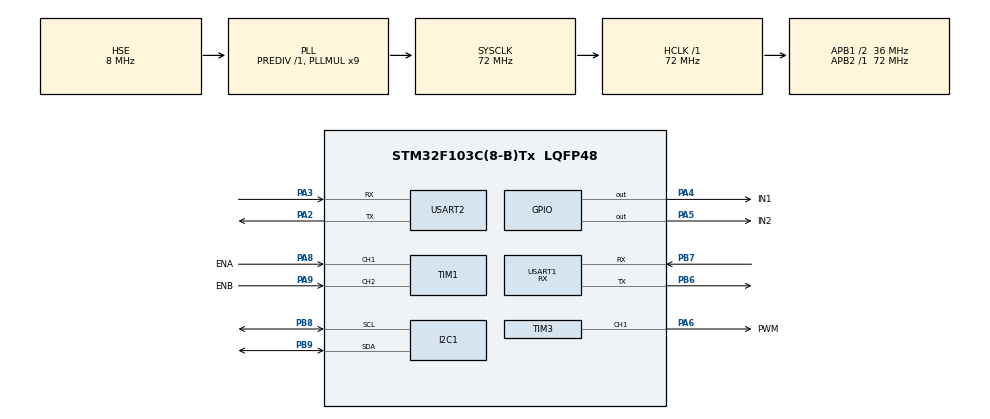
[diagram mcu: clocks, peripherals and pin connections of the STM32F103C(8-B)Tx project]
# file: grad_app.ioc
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Dma.Request0=USART1_RX
Dma.USART1_RX.0.Direction=DMA_PERIPH_TO_MEMORY
Dma.USART1_RX.0.Instance=DMA1_Channel5
Dma.USART1_RX.0.MemDataAlignment=DMA_MDATAALIGN_BYTE
Dma.USART1_RX.0.MemInc=DMA_MINC_ENABLE
Dma.USART1_RX.0.Mode=DMA_CIRCULAR
Dma.USART1_RX.0.PeriphDataAlignment=DMA_PDATAALIGN_BYTE
Dma.USART1_RX.0.PeriphInc=DMA_PINC_DISABLE
Dma.USART1_RX.0.Priority=DMA_PRIORITY_LOW
Mcu.Family=STM32F1
Mcu.Name=STM32F103C(8-B)Tx
Mcu.Package=LQFP48
NVIC.DMA1_Channel5_IRQn=true\:0\:0\:false\:false\:true\:false\:true\:true
NVIC.PriorityGroup=NVIC_PRIORITYGROUP_4
NVIC.TIM2_IRQn=true\:0\:0\:false\:false\:true\:true\:true\:true
NVIC.USART1_IRQn=true\:0\:0\:false\:false\:true\:true\:true\:true
PA13.Mode=Serial_Wire
PA13.Signal=SYS_JTMS-SWDIO
PA14.Mode=Serial_Wire
PA14.Signal=SYS_JTCK-SWCLK
PA2.Mode=Asynchronous
PA2.Signal=USART2_TX
PA3.Mode=Asynchronous
PA3.Signal=USART2_RX
PA4.GPIO_Label=IN1
PA4.Signal=GPIO_Output
PA5.GPIO_Label=IN2
PA5.Signal=GPIO_Output
PA6.GPIO_Label=PWM
PA6.Signal=S_TIM3_CH1
PA8.GPIO_Label=ENA
PA8.Signal=S_TIM1_CH1
PA9.GPIO_Label=ENB
PA9.Signal=S_TIM1_CH2
PB6.Mode=Asynchronous
PB6.Signal=USART1_TX
PB7.Mode=Asynchronous
PB7.Signal=USART1_RX
PB8.Mode=I2C
PB8.Signal=I2C1_SCL
PB9.Mode=I2C
PB9.Signal=I2C1_SDA
PD0-OSC_IN.Mode=HSE-External-Oscillator
PD0-OSC_IN.Signal=RCC_OSC_IN
PD1-OSC_OUT.Mode=HSE-External-Oscillator
PD1-OSC_OUT.Signal=RCC_OSC_OUT
ProjectManager.HeapSize=0x200
ProjectManager.StackSize=0x400
ProjectManager.TargetToolchain=Makefile
RCC.AHBFreq_Value=72000000
RCC.APB1CLKDivider=RCC_HCLK_DIV2
RCC.APB1Freq_Value=36000000
RCC.APB1TimFreq_Value=72000000
RCC.APB2Freq_Value=72000000
RCC.APB2TimFreq_Value=72000000
RCC.HCLKFreq_Value=72000000
RCC.PLLMUL=RCC_PLL_MUL9
RCC.PLLSourceVirtual=RCC_PLLSOURCE_HSE
RCC.SYSCLKFreq_VALUE=72000000
RCC.SYSCLKSource=RCC_SYSCLKSOURCE_PLLCLK
RCC.USBFreq_Value=72000000
SH.S_TIM1_CH1.0=TIM1_CH1,Encoder_Interface
SH.S_TIM1_CH2.0=TIM1_CH2,Encoder_Interface
SH.S_TIM3_CH1.0=TIM3_CH1,PWM Generation1 CH1
TIM1.AutoReloadPreload=TIM_AUTORELOAD_PRELOAD_ENABLE
TIM1.EncoderMode=TIM_ENCODERMODE_TI12
TIM2.AutoReloadPreload=TIM_AUTORELOAD_PRELOAD_ENABLE
TIM2.Period=9
TIM2.Prescaler=7199
TIM3.AutoReloadPreload=TIM_AUTORELOAD_PRELOAD_ENABLE
TIM3.Channel-PWM\ Generation1\ CH1=TIM_CHANNEL_1
TIM3.Period=1000-1
TIM3.Prescaler=4-1
USART1.Mode=MODE_RX
USART1.VirtualMode=VM_ASYNC
USART2.VirtualMode=VM_ASYNC
VP_TIM2_VS_ClockSourceINT.Mode=Internal
board=custom

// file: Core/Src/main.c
/* USER CODE BEGIN Header */
/**
  ******************************************************************************
  * @file           : main.c
  * @brief          : Main program body
  ******************************************************************************
  * @attention
  *
  * Copyright (c) 2025 STMicroelectronics.
  * All rights reserved.
  *
  * This software is licensed under terms that can be found in the LICENSE file
  * in the root directory of this software component.
  * If no LICENSE file comes with this software, it is provided AS-IS.
  *N
  ******************************************************************************
  */
/* USER CODE END Header */
#include "main.h"
#include <stdio.h>
#include <string.h>
#include <stdbool.h>
#include "time.h"
#include "motorController.h"
#include "uartParser.h"
#include "i2c_lcd.h"

/* USER CODE BEGIN PTD */
// Define the size of the UART RX buffer
#define DMA_BUFFER_SIZE 128

volatile uint8_t uart_dma_buffer[DMA_BUFFER_SIZE];
volatile float target_position; // Target position in mm
volatile float current_position; // Current position in mm
volatile float Dtf, Dmis; // Variables to hold the coordinates
/* USER CODE END PTD */

I2C_HandleTypeDef hi2c1;
I2C_LCD_HandleTypeDef lcd1;

TIM_HandleTypeDef htim1;
TIM_HandleTypeDef htim2;
TIM_HandleTypeDef htim3;

UART_HandleTypeDef huart1;
UART_HandleTypeDef huart2;
DMA_HandleTypeDef hdma_usart1_rx;

void SystemClock_Config(void);
static void MX_GPIO_Init(void);
static void MX_DMA_Init(void);
static void MX_TIM1_Init(void);
static void MX_TIM2_Init(void);
static void MX_TIM3_Init(void);
static void MX_USART1_UART_Init(void);
static void MX_I2C1_Init(void);
static void MX_USART2_UART_Init(void);

int main(void)
{

  /* MCU Configuration--------------------------------------------------------*/

  /* Reset of all peripherals, Initializes the Flash interface and the Systick. */
  HAL_Init();

  /* Configure the system clock */
  SystemClock_Config();

  /* Initialize all configured peripherals */
  MX_GPIO_Init();
  MX_DMA_Init();
  MX_TIM1_Init();
  MX_TIM2_Init();
  MX_TIM3_Init();
  MX_USART1_UART_Init();
  MX_I2C1_Init();
  MX_USART2_UART_Init();
  /* USER CODE BEGIN 2 */
  // Initialize the encoder and PWM
  HAL_TIM_Encoder_Start(&htim1, TIM_CHANNEL_ALL);
  HAL_TIM_Base_Start_IT(&htim2);
  HAL_TIM_PWM_Start(&htim3, TIM_CHANNEL_1);
  HAL_UART_Receive_DMA(&huart1, uart_dma_buffer, DMA_BUFFER_SIZE);
  __HAL_UART_ENABLE_IT(&huart1, UART_IT_IDLE);
  Motor_Init(); // Initialize the motor controller

  lcd1.hi2c = &hi2c1;
  lcd1.address = 0x4E;
  lcd_init(&lcd1); // Initialize the LCD
  /* USER CODE END 2 */

  /* Infinite loop */
  while (1)
  {
    LogData();
    HAL_Delay(1000); // Delay to simulate processing time
  }
}

void SystemClock_Config(void)
{
  RCC_OscInitTypeDef RCC_OscInitStruct = {0};
  RCC_ClkInitTypeDef RCC_ClkInitStruct = {0};

  /** Initializes the RCC Oscillators according to the specified parameters
  * in the RCC_OscInitTypeDef structure.
  */
  RCC_OscInitStruct.OscillatorType = RCC_OSCILLATORTYPE_HSE;
  RCC_OscInitStruct.HSEState = RCC_HSE_ON;
  RCC_OscInitStruct.HSEPredivValue = RCC_HSE_PREDIV_DIV1;
  RCC_OscInitStruct.HSIState = RCC_HSI_ON;
  RCC_OscInitStruct.PLL.PLLState = RCC_PLL_ON;
  RCC_OscInitStruct.PLL.PLLSource = RCC_PLLSOURCE_HSE;
  RCC_OscInitStruct.PLL.PLLMUL = RCC_PLL_MUL9;
  if (HAL_RCC_OscConfig(&RCC_OscInitStruct) != HAL_OK)
  {
    Error_Handler();
  }

  /** Initializes the CPU, AHB and APB buses clocks
  */
  RCC_ClkInitStruct.ClockType = RCC_CLOCKTYPE_HCLK|RCC_CLOCKTYPE_SYSCLK
                              |RCC_CLOCKTYPE_PCLK1|RCC_CLOCKTYPE_PCLK2;
  RCC_ClkInitStruct.SYSCLKSource = RCC_SYSCLKSOURCE_PLLCLK;
  RCC_ClkInitStruct.AHBCLKDivider = RCC_SYSCLK_DIV1;
  RCC_ClkInitStruct.APB1CLKDivider = RCC_HCLK_DIV2;
  RCC_ClkInitStruct.APB2CLKDivider = RCC_HCLK_DIV1;

  if (HAL_RCC_ClockConfig(&RCC_ClkInitStruct, FLASH_LATENCY_2) != HAL_OK)
  {
    Error_Handler();
  }
}

static void MX_I2C1_Init(void)
{

  hi2c1.Instance = I2C1;
  hi2c1.Init.ClockSpeed = 100000;
  hi2c1.Init.DutyCycle = I2C_DUTYCYCLE_2;
  hi2c1.Init.OwnAddress1 = 0;
  hi2c1.Init.AddressingMode = I2C_ADDRESSINGMODE_7BIT;
  hi2c1.Init.DualAddressMode = I2C_DUALADDRESS_DISABLE;
  hi2c1.Init.OwnAddress2 = 0;
  hi2c1.Init.GeneralCallMode = I2C_GENERALCALL_DISABLE;
  hi2c1.Init.NoStretchMode = I2C_NOSTRETCH_DISABLE;
  if (HAL_I2C_Init(&hi2c1) != HAL_OK)
  {
    Error_Handler();
  }

}

static void MX_TIM1_Init(void)
{

  TIM_Encoder_InitTypeDef sConfig = {0};
  TIM_MasterConfigTypeDef sMasterConfig = {0};

  htim1.Instance = TIM1;
  htim1.Init.Prescaler = 0;
  htim1.Init.CounterMode = TIM_COUNTERMODE_UP;
  htim1.Init.Period = 65535;
  htim1.Init.ClockDivision = TIM_CLOCKDIVISION_DIV1;
  htim1.Init.RepetitionCounter = 0;
  htim1.Init.AutoReloadPreload = TIM_AUTORELOAD_PRELOAD_ENABLE;
  sConfig.EncoderMode = TIM_ENCODERMODE_TI12;
  sConfig.IC1Polarity = TIM_ICPOLARITY_RISING;
  sConfig.IC1Selection = TIM_ICSELECTION_DIRECTTI;
  sConfig.IC1Prescaler = TIM_ICPSC_DIV1;
  sConfig.IC1Filter = 0;
  sConfig.IC2Polarity = TIM_ICPOLARITY_RISING;
  sConfig.IC2Selection = TIM_ICSELECTION_DIRECTTI;
  sConfig.IC2Prescaler = TIM_ICPSC_DIV1;
  sConfig.IC2Filter = 0;
  if (HAL_TIM_Encoder_Init(&htim1, &sConfig) != HAL_OK)
  {
    Error_Handler();
  }
  sMasterConfig.MasterOutputTrigger = TIM_TRGO_RESET;
  sMasterConfig.MasterSlaveMode = TIM_MASTERSLAVEMODE_DISABLE;
  if (HAL_TIMEx_MasterConfigSynchronization(&htim1, &sMasterConfig) != HAL_OK)
  {
    Error_Handler();
  }

}

static void MX_TIM2_Init(void)
{

  TIM_ClockConfigTypeDef sClockSourceConfig = {0};
  TIM_MasterConfigTypeDef sMasterConfig = {0};

  htim2.Instance = TIM2;
  htim2.Init.Prescaler = 7199;
  htim2.Init.CounterMode = TIM_COUNTERMODE_UP;
  htim2.Init.Period = 9;
  htim2.Init.ClockDivision = TIM_CLOCKDIVISION_DIV1;
  htim2.Init.AutoReloadPreload = TIM_AUTORELOAD_PRELOAD_ENABLE;
  if (HAL_TIM_Base_Init(&htim2) != HAL_OK)
  {
    Error_Handler();
  }
  sClockSourceConfig.ClockSource = TIM_CLOCKSOURCE_INTERNAL;
  if (HAL_TIM_ConfigClockSource(&htim2, &sClockSourceConfig) != HAL_OK)
  {
    Error_Handler();
  }
  sMasterConfig.MasterOutputTrigger = TIM_TRGO_RESET;
  sMasterConfig.MasterSlaveMode = TIM_MASTERSLAVEMODE_DISABLE;
  if (HAL_TIMEx_MasterConfigSynchronization(&htim2, &sMasterConfig) != HAL_OK)
  {
    Error_Handler();
  }

}

static void MX_TIM3_Init(void)
{

  TIM_MasterConfigTypeDef sMasterConfig = {0};
  TIM_OC_InitTypeDef sConfigOC = {0};

  htim3.Instance = TIM3;
  htim3.Init.Prescaler = 4-1;
  htim3.Init.CounterMode = TIM_COUNTERMODE_UP;
  htim3.Init.Period = 1000-1;
  htim3.Init.ClockDivision = TIM_CLOCKDIVISION_DIV1;
  htim3.Init.AutoReloadPreload = TIM_AUTORELOAD_PRELOAD_ENABLE;
  if (HAL_TIM_PWM_Init(&htim3) != HAL_OK)
  {
    Error_Handler();
  }
  sMasterConfig.MasterOutputTrigger = TIM_TRGO_RESET;
  sMasterConfig.MasterSlaveMode = TIM_MASTERSLAVEMODE_DISABLE;
  if (HAL_TIMEx_MasterConfigSynchronization(&htim3, &sMasterConfig) != HAL_OK)
  {
    Error_Handler();
  }
  sConfigOC.OCMode = TIM_OCMODE_PWM1;
  sConfigOC.Pulse = 0;
  sConfigOC.OCPolarity = TIM_OCPOLARITY_HIGH;
  sConfigOC.OCFastMode = TIM_OCFAST_DISABLE;
  if (HAL_TIM_PWM_ConfigChannel(&htim3, &sConfigOC, TIM_CHANNEL_1) != HAL_OK)
  {
    Error_Handler();
  }
  HAL_TIM_MspPostInit(&htim3);

}

static void MX_USART1_UART_Init(void)
{

  huart1.Instance = USART1;
  huart1.Init.BaudRate = 115200;
  huart1.Init.WordLength = UART_WORDLENGTH_8B;
  huart1.Init.StopBits = UART_STOPBITS_1;
  huart1.Init.Parity = UART_PARITY_NONE;
  huart1.Init.Mode = UART_MODE_RX;
  huart1.Init.HwFlowCtl = UART_HWCONTROL_NONE;
  huart1.Init.OverSampling = UART_OVERSAMPLING_16;
  if (HAL_UART_Init(&huart1) != HAL_OK)
  {
    Error_Handler();
  }

}

static void MX_USART2_UART_Init(void)
{

  huart2.Instance = USART2;
  huart2.Init.BaudRate = 115200;
  huart2.Init.WordLength = UART_WORDLENGTH_8B;
  huart2.Init.StopBits = UART_STOPBITS_1;
  huart2.Init.Parity = UART_PARITY_NONE;
  huart2.Init.Mode = UART_MODE_TX_RX;
  huart2.Init.HwFlowCtl = UART_HWCONTROL_NONE;
  huart2.Init.OverSampling = UART_OVERSAMPLING_16;
  if (HAL_UART_Init(&huart2) != HAL_OK)
  {
    Error_Handler();
  }

}

static void MX_DMA_Init(void)
{

  /* DMA controller clock enable */
  __HAL_RCC_DMA1_CLK_ENABLE();

  /* DMA interrupt init */
  /* DMA1_Channel5_IRQn interrupt configuration */
  HAL_NVIC_SetPriority(DMA1_Channel5_IRQn, 0, 0);
  HAL_NVIC_EnableIRQ(DMA1_Channel5_IRQn);

}

static void MX_GPIO_Init(void)
{
  GPIO_InitTypeDef GPIO_InitStruct = {0};

  /* GPIO Ports Clock Enable */
  __HAL_RCC_GPIOD_CLK_ENABLE();
  __HAL_RCC_GPIOA_CLK_ENABLE();
  __HAL_RCC_GPIOB_CLK_ENABLE();

  /*Configure GPIO pin Output Level */
  HAL_GPIO_WritePin(GPIOA, IN1_Pin|IN2_Pin, GPIO_PIN_RESET);

  /*Configure GPIO pins : IN1_Pin IN2_Pin */
  GPIO_InitStruct.Pin = IN1_Pin|IN2_Pin;
  GPIO_InitStruct.Mode = GPIO_MODE_OUTPUT_PP;
  GPIO_InitStruct.Pull = GPIO_NOPULL;
  GPIO_InitStruct.Speed = GPIO_SPEED_FREQ_LOW;
  HAL_GPIO_Init(GPIOA, &GPIO_InitStruct);

}

/* USER CODE BEGIN 4 */

static volatile uint32_t last_data_update = 0;
static volatile bool data_valid = false;

// Get target position via UART
void HAL_UARTEx_RxEventCallback(UART_HandleTypeDef *huart, uint16_t Size)
{
    if (huart->Instance == USART1)
    {
        uint16_t dma_write_index = DMA_BUFFER_SIZE - __HAL_DMA_GET_COUNTER(&hdma_usart1_rx);
        UART_ProcessDMAData(dma_write_index);
        Dtf = getDtf();
        Dmis = getDmis();
        target_position = LookupTargetPosition(Dtf, Dmis);

        // Mark data as valid and update timestamp
        last_data_update = HAL_GetTick();
        data_valid = true;
    }
}

// Handle UART idle interrupt to process remaining data
void HAL_UART_IdleCallback(UART_HandleTypeDef *huart)
{
    if (huart->Instance == USART1)
    {
        // Process any remaining data in buffer
        uint16_t dma_write_index = DMA_BUFFER_SIZE - __HAL_DMA_GET_COUNTER(&hdma_usart1_rx);
        UART_ProcessDMAData(dma_write_index);
        Dtf = getDtf();
        Dmis = getDmis();
        target_position = LookupTargetPosition(Dtf, Dmis);

        last_data_update = HAL_GetTick();
        data_valid = true; // Mark data as valid
    }
}

// Get the target position, checking if data is still valid
float GetTargetPosition(void) {
    uint32_t current_time = HAL_GetTick();

    // Check if data is still valid (within timeout)
    if (data_valid && (current_time - last_data_update < 1000)) {
        return target_position;
    }

    // If data is stale, invalidate it and return current position for safety
    if (data_valid && (current_time - last_data_update >= 1000)) {
        data_valid = false;
    }

    return target_position; // Return last known target if never been valid
}

// Set motor output in 1ms interrupt
void HAL_TIM_PeriodElapsedCallback(TIM_HandleTypeDef *htim){
    if(htim->Instance == TIM2) {
        // Read the encoder value and update the motor position
        current_position = Motor_GetCurrentPosition_mm();

        // Only update target if we have valid recent data
        float target = GetTargetPosition();

        // Compute the PID control output
        Motor_ComputePID(current_position, target);
    }
}

// Log data via UART to computer
void LogData(void) {
    static uint32_t log_counter = 0;
    static float max_error = 0;
    static float settling_time = 0;
    static uint32_t target_change_time = 0;

    float error = fabsf(target_position - current_position);

    // Track maximum error
    if (error > max_error) max_error = error;

    // Track settling time (when error < 1mm for first time)
    static bool settled = false;
    if (!settled && error < 1.0f) {
        settling_time = (HAL_GetTick() - target_change_time) / 1000.0f;
        settled = true;
    }

    // Reset metrics when target changes significantly
    static float prev_target = 0;
    if (fabsf(target_position - prev_target) > 5.0f) {
        max_error = 0;
        settled = false;
        target_change_time = HAL_GetTick();
        prev_target = target_position;
    }

    // Log data to UART
    char log_buffer[128];
    snprintf(log_buffer, sizeof(log_buffer),
    "Dtf:%.2f Dmis:%.2f\r\nTarget:%.2f Current:%.2f\r\nPWM:%d Err:%.2f MaxErr:%.2f SettleT:%.2fs\r\n-----------------\r\n",
    Dtf, Dmis, target_position, current_position, getPWM(),
    error, max_error, settling_time);
    HAL_UART_Transmit(&huart2, (uint8_t*)log_buffer, strlen(log_buffer), HAL_MAX_DELAY);

    // Log to LCD
    char lcd_line1[20];
    char lcd_line2[20];
    snprintf(lcd_line1, sizeof(lcd_line1), "Target:%.2f", target_position);
    snprintf(lcd_line2, sizeof(lcd_line2), "Current:%.2f", current_position);

    lcd_clear(&lcd1);
    lcd_gotoxy(&lcd1, 0, 0);
    lcd_send_string(&lcd1, lcd_line1);
    lcd_gotoxy(&lcd1, 0, 1);
    lcd_send_string(&lcd1, lcd_line2);

    // Increment log counter
    log_counter++;
}

/* USER CODE END 4 */

void Error_Handler(void)
{
  __disable_irq();
  while (1)
  {
  }
}
